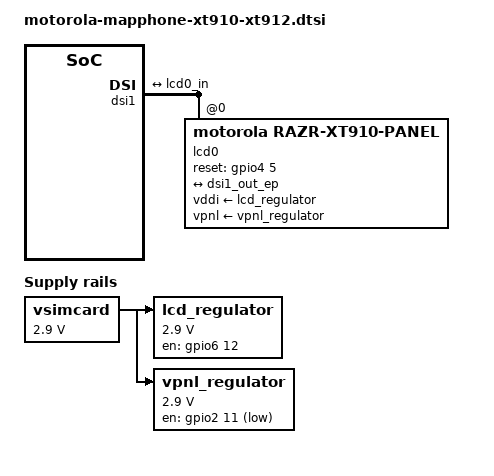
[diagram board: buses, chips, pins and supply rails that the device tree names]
// SPDX-License-Identifier: GPL-2.0-only
/dts-v1/;

#include "motorola-mapphone-handset.dtsi"

/ {
	/* LCD panel controller regulator from vsimcard source */
	lcd_regulator: regulator-lcd-0 {
		compatible = "regulator-fixed";
		regulator-name = "panel_ctrl";
		regulator-min-microvolt = <2900000>;
		regulator-max-microvolt = <2900000>;
		vin-supply = <&vsimcard>;
		gpio = <&gpio6 12 GPIO_ACTIVE_HIGH>;	/* gpio_172 */
		enable-active-high;
	};

	/* LCD regulator from vsimcard source */
	vpnl_regulator: regulator-lcd-1 {
		compatible = "regulator-fixed";
		regulator-name = "lcd";
		regulator-min-microvolt = <2900000>;
		regulator-max-microvolt = <2900000>;
		vin-supply = <&vsimcard>;
		gpio = <&gpio2 11 GPIO_ACTIVE_HIGH>;	/* gpio_43 */
	};
};

&dsi1 {
	status = "okay";
	vdd-supply = <&vcsi>;

	port {
		dsi1_out_ep: endpoint {
			remote-endpoint = <&lcd0_in>;
			lanes = <0 1 2 3 4 5>;
		};
	};

	/* The LCD backlight on razr xt91x is integrated mipi dsi backlight */
	lcd0: panel@0 {
		compatible = "motorola,razr-xt910-panel", "panel-dsi-cm";
		reg = <0>;
		label = "lcd0";
		reset-gpios = <&gpio4 5 GPIO_ACTIVE_HIGH>;	/* gpio101 */
		vddi-supply = <&lcd_regulator>;
		vpnl-supply = <&vpnl_regulator>;

		width-mm = <50>;
		height-mm = <89>;
		rotation = <90>;

		panel-timing {
			clock-frequency = <0>;		/* Calculated by dsi */

			hback-porch = <2>;
			hactive = <540>;
			hfront-porch = <0>;
			hsync-len = <2>;

			vback-porch = <1>;
			vactive = <960>;
			vfront-porch = <0>;
			vsync-len = <1>;

			hsync-active = <0>;
			vsync-active = <0>;
			de-active = <1>;
			pixelclk-active = <1>;
		};

		port {
			lcd0_in: endpoint {
				remote-endpoint = <&dsi1_out_ep>;
			};
		};
	};
};

&keypad {
	keypad,num-rows = <8>;
	keypad,num-columns = <8>;
	linux,keymap = <MATRIX_KEY(5, 0, KEY_VOLUMEUP)>,
		       <MATRIX_KEY(3, 0, KEY_VOLUMEDOWN)>;
};

/* Used by the LCD */
&vsimcard {
	regulator-min-microvolt = <2900000>;
	regulator-max-microvolt = <2900000>;
};
